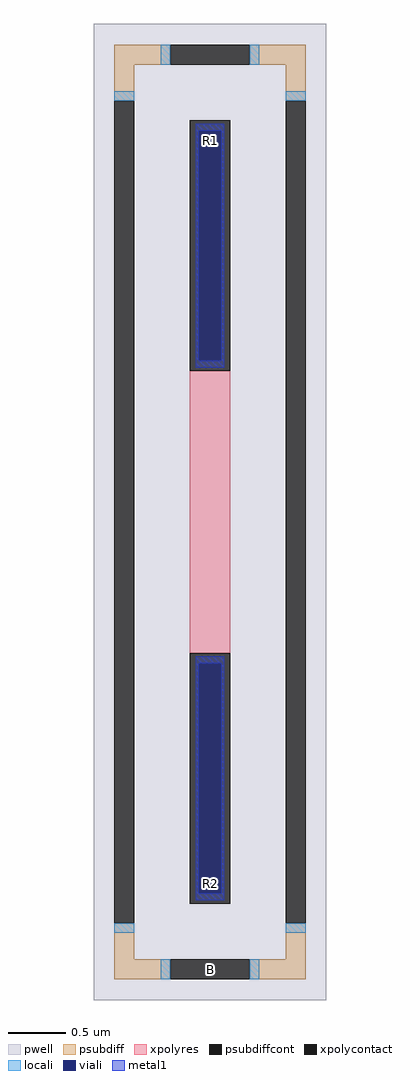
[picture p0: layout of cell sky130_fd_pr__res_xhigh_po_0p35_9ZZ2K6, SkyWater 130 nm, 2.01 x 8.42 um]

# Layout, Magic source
magic
tech sky130A
magscale 1 2
<< pwell >>
rect -201 -842 201 842
<< psubdiff >>
rect -165 772 -69 806
rect 69 772 165 806
rect -165 710 -131 772
rect 131 710 165 772
rect -165 -772 -131 -710
rect 131 -772 165 -710
rect -165 -806 -69 -772
rect 69 -806 165 -772
<< psubdiffcont >>
rect -69 772 69 806
rect -165 -710 -131 710
rect 131 -710 165 710
rect -69 -806 69 -772
<< xpolycontact >>
rect -35 244 35 676
rect -35 -676 35 -244
<< xpolyres >>
rect -35 -244 35 244
<< locali >>
rect -85 772 -69 806
rect 69 772 85 806
rect -165 710 -131 726
rect 131 710 165 726
rect -165 -726 -131 -710
rect 131 -726 165 -710
rect -85 -806 -69 -772
rect 69 -806 85 -772
<< viali >>
rect -19 261 19 658
rect -19 -658 19 -261
<< metal1 >>
rect -25 658 25 670
rect -25 261 -19 658
rect 19 261 25 658
rect -25 249 25 261
rect -25 -261 25 -249
rect -25 -658 -19 -261
rect 19 -658 25 -261
rect -25 -670 25 -658
<< labels >>
rlabel psubdiffcont 0 -789 0 -789 0 B
port 1 nsew
rlabel xpolycontact 0 641 0 641 0 R1
port 2 nsew
rlabel xpolycontact 0 -641 0 -641 0 R2
port 3 nsew
<< properties >>
string FIXED_BBOX -148 -789 148 789
string gencell sky130_fd_pr__res_xhigh_po_0p35
string library sky130
string parameters w 0.350 l 2.6 m 1 nx 1 wmin 0.350 lmin 0.50 class resistor rho 2000 val 15.932k dummy 0 dw 0.0 term 188.2 sterm 0.0 caplen 0 wmax 0.350 guard 1 glc 1 grc 1 gtc 1 gbc 1 compatible {sky130_fd_pr__res_xhigh_po_0p35  sky130_fd_pr__res_xhigh_po_0p69 sky130_fd_pr__res_xhigh_po_1p41  sky130_fd_pr__res_xhigh_po_2p85 sky130_fd_pr__res_xhigh_po_5p73} snake 0 full_metal 0 n_guard 0 hv_guard 0 vias 1 viagb 0 viagt 0 viagl 0 viagr 0 doports 1
<< end >>
